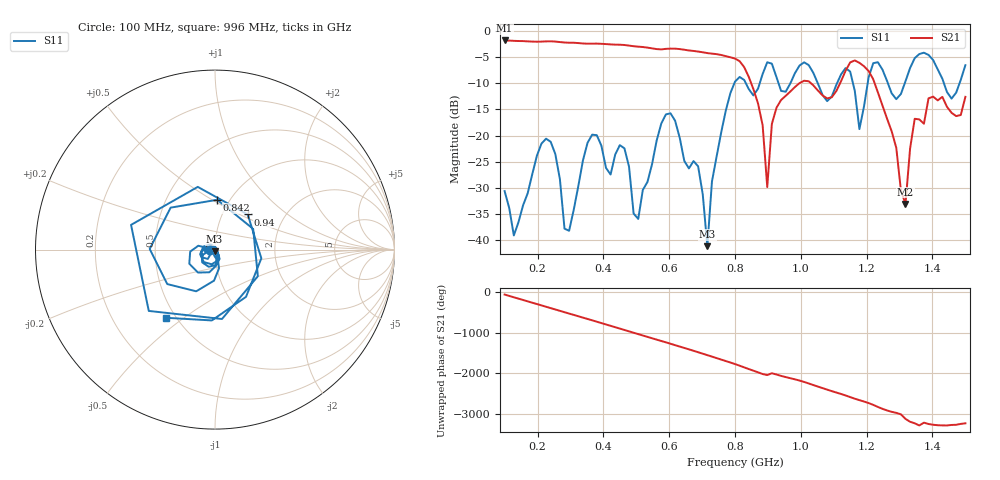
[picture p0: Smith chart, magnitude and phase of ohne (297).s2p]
! NanoVNA-App
! Date: 2025-09-25 14:23:06
! Start: 100MHz Stop: 1,5GHz Points: 101
! S-Parameter data: F S11 S21 S12 S22
# Hz S RI R 50
!  Frequency  S11_Real  S11_Imag  S21_Real  S21_Imag  S12_Real  S12_Imag  S22_Real  S22_Imag
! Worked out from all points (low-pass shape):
!   101 points, 100 MHz to 1.5 GHz, reference 50 ohm
!   highest |S21| = -1.79 dB at 100 MHz (marker M1); lowest = -33.1 dB at 1.318 GHz (marker M2)
!   |S21| within 3 dB of the highest: start of sweep to 771.5 MHz
!   lowest |S11| = -41.2 dB at 716 MHz (marker M3), VSWR 1.02, Z = 49.8 - j0.835 ohm
!   |S11| at or under -10 dB: start of sweep to 798 MHz; 833.1 MHz to 875.1 MHz (42.03 MHz wide, 4.92 % of centre); 1.052 GHz to 1.11 GHz (58.33 MHz wide, 5.4 % of centre) (the widest 3 of 7)
!   S12 and S22 are empty: the file has one direction only
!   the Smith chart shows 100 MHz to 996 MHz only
!   S11 on the Smith chart (normalised r, x): 100 MHz: 0.94, -0.01; 842 MHz: 0.88, +0.53; 940 MHz: 1.31, +0.55; 996 MHz: 0.44, -0.43
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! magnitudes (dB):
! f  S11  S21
! 100 MHz  -30.6  -1.8
! 128 MHz  -39.1  -1.9
! 226 MHz  -20.6  -2.0
! 296 MHz  -38.2  -2.2
! 338 MHz  -24.8  -2.4
! 464 MHz  -22.4  -2.7
! 506 MHz  -36.0  -3.0
! 576 MHz  -17.7  -3.5
! 688 MHz  -25.9  -3.9
! 716 MHz  -41.2  -4.2
! 800 MHz  -9.7  -5.3
! 842 MHz  -11.1  -8.8
! 898 MHz  -6.0  -29.9
! 940 MHz  -11.5  -13.2
! 996 MHz  -6.6  -10.0
! 1.038 GHz  -8.0  -10.4
! 1.178 GHz  -18.8  -6.1
! 1.22 GHz  -6.1  -9.2
! 1.276 GHz  -11.9  -19.2
! 1.318 GHz  -9.6  -33.1
! 1.346 GHz  -5.2  -16.8
! 1.5 GHz  -6.5  -12.6
